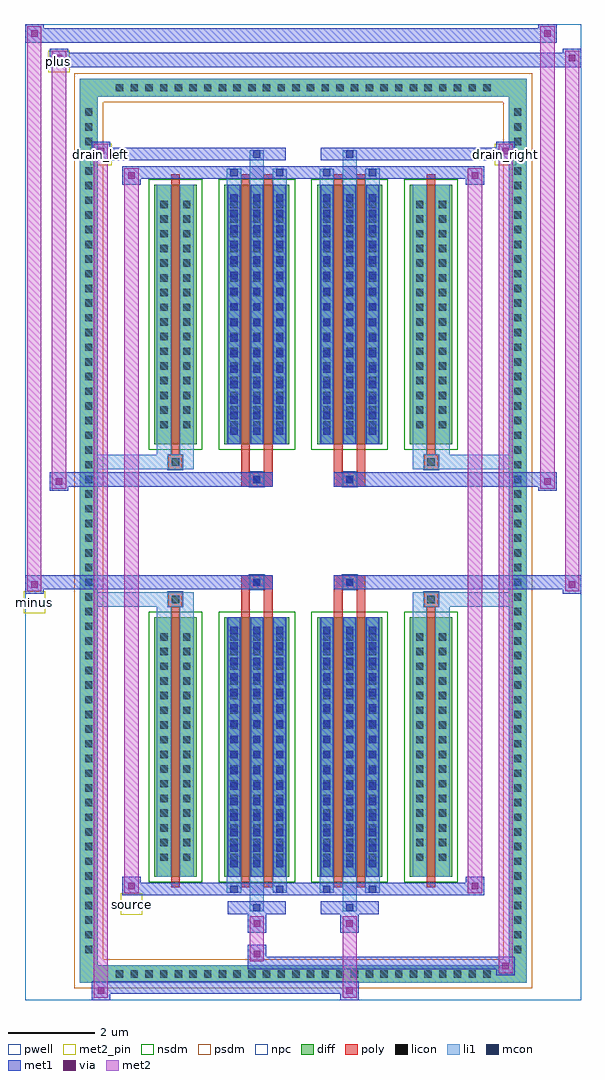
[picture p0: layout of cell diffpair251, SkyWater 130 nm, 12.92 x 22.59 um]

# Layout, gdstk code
import gdstk
lib = gdstk.Library(unit=1e-6, precision=5e-09)
def R(c, l, rs):  # rectangles x0, y0, x1, y1
    for r in rs: c.add(gdstk.rectangle(r[:2], r[2:], *l))
def A(c, l, x, y, w, h, nx, ny, dx, dy):  # array of equal rectangles
    R(c, l, [(x+i*dx, y+j*dy, x+i*dx+w, y+j*dy+h) for i in range(nx) for j in range(ny)])
def P(c, l, *ps):  # polygons
    for p in ps: c.add(gdstk.Polygon(p, *l))
pwell = (64, 44)
diff = (65, 20)
poly = (66, 20)
licon = (66, 44)
li1 = (67, 20)
mcon = (67, 44)
met1 = (68, 20)
via = (68, 44)
met2_pin = (69, 16)
met2 = (69, 20)
nsdm = (93, 44)
psdm = (94, 20)
npc = (95, 20)

diffpair251 = lib.new_cell('diffpair251')
R(diffpair251, pwell, [(-6.44,-10.86,6.44,11.73), (-3.76,-9.05,-0.01,-0.825), (0.01,-9.05,3.76,-0.825), (-3.76,0.825,-0.01,9.05), (0.01,0.825,3.76,9.05)])
A(diffpair251, diff, -4.455, -10.46, 0.41, 0.41, 26, 2, 0.34, 20.51)
A(diffpair251, diff, -5.17, -9.895, 0.41, 0.41, 1, 58, 0, 0.34)
A(diffpair251, diff, 4.76, -9.895, 0.41, 0.41, 1, 58, 0, 0.34)
R(diffpair251, diff, [(-4.455,-10.46,4.455,-10.05), (-5.17,-9.895,-4.76,9.895), (4.76,-9.895,5.17,9.895), (-3.45,-8.005,-2.47,-2.005), (-1.83,-8.005,-0.32,-2.005), (0.32,-8.005,1.83,-2.005), (2.47,-8.005,3.45,-2.005), (-3.45,2.005,-2.47,8.005), (-1.83,2.005,-0.32,8.005), (0.32,2.005,1.83,8.005), (2.47,2.005,3.45,8.005), (-4.455,10.05,4.455,10.46)])
P(diffpair251, diff, [(5.17,10.46),(-5.17,10.46),(-5.17,-10.05),(-4.76,-10.05),(-4.76,10.05),(4.76,10.05),(4.76,-10.05),(-4.76,-10.05),(-5.17,-10.05),(-5.17,-10.46),(5.17,-10.46)])
R(diffpair251, poly, [(-3.06,-8.255,-2.86,-1.755), (-1.44,-8.255,-1.24,-1.755), (-0.91,-8.255,-0.71,-1.755), (0.71,-8.255,0.91,-1.755), (1.24,-8.255,1.44,-1.755), (2.86,-8.255,3.06,-1.755), (-3.125,-1.755,-2.795,-1.425), (-3.125,-1.755,-2.795,-1.425), (-1.44,-1.755,-1.24,-1.355), (-0.91,-1.755,-0.71,-1.355), (0.71,-1.755,0.91,-1.355), (1.24,-1.755,1.44,-1.355), (2.795,-1.755,3.125,-1.425), (2.795,-1.755,3.125,-1.425), (-1.44,-1.355,-0.71,-1.025), (-1.24,-1.355,-0.91,-1.025), (0.71,-1.355,1.44,-1.025), (0.91,-1.355,1.24,-1.025), (-1.44,1.025,-0.71,1.355), (-1.24,1.025,-0.91,1.355), (0.71,1.025,1.44,1.355), (0.91,1.025,1.24,1.355), (-1.44,1.355,-1.24,1.755), (-0.91,1.355,-0.71,1.755), (0.71,1.355,0.91,1.755), (1.24,1.355,1.44,1.755), (-3.125,1.425,-2.795,1.755), (-3.125,1.425,-2.795,1.755), (2.795,1.425,3.125,1.755), (2.795,1.425,3.125,1.755), (-3.06,1.755,-2.86,8.255), (-1.44,1.755,-1.24,8.255), (-0.91,1.755,-0.71,8.255), (0.71,1.755,0.91,8.255), (1.24,1.755,1.44,8.255), (2.86,1.755,3.06,8.255)])
A(diffpair251, licon, -4.335, -10.34, 0.17, 0.17, 26, 2, 0.34, 20.51)
A(diffpair251, licon, -5.05, -9.775, 0.17, 0.17, 1, 58, 0, 0.34)
A(diffpair251, licon, 4.88, -9.775, 0.17, 0.17, 1, 58, 0, 0.34)
A(diffpair251, licon, -3.31, -7.64, 0.17, 0.17, 1, 16, 0, 0.34)
A(diffpair251, licon, -2.78, -7.64, 0.17, 0.17, 1, 16, 0, 0.34)
A(diffpair251, licon, -1.69, -7.64, 0.17, 0.17, 3, 16, 0.53, 0.34)
A(diffpair251, licon, 0.46, -7.64, 0.17, 0.17, 3, 16, 0.53, 0.34)
A(diffpair251, licon, 2.61, -7.64, 0.17, 0.17, 1, 16, 0, 0.34)
A(diffpair251, licon, 3.14, -7.64, 0.17, 0.17, 1, 16, 0, 0.34)
A(diffpair251, licon, -3.31, 2.37, 0.17, 0.17, 1, 16, 0, 0.34)
A(diffpair251, licon, -2.78, 2.37, 0.17, 0.17, 1, 16, 0, 0.34)
A(diffpair251, licon, -1.69, 2.37, 0.17, 0.17, 3, 16, 0.53, 0.34)
A(diffpair251, licon, 0.46, 2.37, 0.17, 0.17, 3, 16, 0.53, 0.34)
A(diffpair251, licon, 2.61, 2.37, 0.17, 0.17, 1, 16, 0, 0.34)
A(diffpair251, licon, 3.14, 2.37, 0.17, 0.17, 1, 16, 0, 0.34)
R(diffpair251, licon, [(-3.045,-1.675,-2.875,-1.505), (2.875,-1.675,3.045,-1.505), (-1.16,-1.275,-0.99,-1.105), (0.99,-1.275,1.16,-1.105), (-1.16,1.105,-0.99,1.275), (0.99,1.105,1.16,1.275), (-3.045,1.505,-2.875,1.675), (2.875,1.505,3.045,1.675)])
A(diffpair251, li1, -4.415, -10.42, 0.33, 0.33, 26, 2, 0.34, 20.51)
A(diffpair251, li1, -5.13, -9.855, 0.33, 0.33, 1, 58, 0, 0.34)
A(diffpair251, li1, 4.8, -9.855, 0.33, 0.33, 1, 58, 0, 0.34)
A(diffpair251, li1, -1.77, -8.005, 0.33, 6, 3, 2, 0.53, 10.01)
A(diffpair251, li1, 0.38, -8.005, 0.33, 6, 3, 2, 0.53, 10.01)
A(diffpair251, li1, -1.69, -7.79, 0.17, 0.17, 3, 16, 0.53, 0.36)
A(diffpair251, li1, -1.69, -7.79, 0.17, 5.57, 3, 2, 0.53, 10.01)
A(diffpair251, li1, 0.46, -7.79, 0.17, 0.17, 3, 16, 0.53, 0.36)
A(diffpair251, li1, 0.46, -7.79, 0.17, 5.57, 3, 2, 0.53, 10.01)
A(diffpair251, li1, -3.39, -7.72, 0.33, 0.33, 1, 16, 0, 0.34)
A(diffpair251, li1, -2.86, -7.72, 0.33, 0.33, 1, 16, 0, 0.34)
A(diffpair251, li1, -1.77, -7.72, 0.33, 0.33, 3, 16, 0.53, 0.34)
A(diffpair251, li1, 0.38, -7.72, 0.33, 0.33, 3, 16, 0.53, 0.34)
A(diffpair251, li1, 2.53, -7.72, 0.33, 0.33, 1, 16, 0, 0.34)
A(diffpair251, li1, 3.06, -7.72, 0.33, 0.33, 1, 16, 0, 0.34)
A(diffpair251, li1, -1.69, 2.22, 0.17, 0.17, 3, 16, 0.53, 0.36)
A(diffpair251, li1, 0.46, 2.22, 0.17, 0.17, 3, 16, 0.53, 0.36)
A(diffpair251, li1, -3.39, 2.29, 0.33, 0.33, 1, 16, 0, 0.34)
A(diffpair251, li1, -2.86, 2.29, 0.33, 0.33, 1, 16, 0, 0.34)
A(diffpair251, li1, -1.77, 2.29, 0.33, 0.33, 3, 16, 0.53, 0.34)
A(diffpair251, li1, 0.38, 2.29, 0.33, 0.33, 3, 16, 0.53, 0.34)
A(diffpair251, li1, 2.53, 2.29, 0.33, 0.33, 1, 16, 0, 0.34)
A(diffpair251, li1, 3.06, 2.29, 0.33, 0.33, 1, 16, 0, 0.34)
R(diffpair251, li1, [(-5.17,-10.46,-4.76,-10.05), (-5.17,-10.46,-4.76,-10.05), (-4.76,-10.46,4.76,-10.05), (4.76,-10.46,5.17,-10.05), (4.76,-10.46,5.17,-10.05), (-5.17,-10.05,-4.76,10.05), (4.76,-10.05,5.17,10.05), (-1.24,-8.81,-0.91,-8.005), (-1.16,-8.81,-0.99,-8.64), (0.91,-8.81,1.24,-8.005), (0.99,-8.81,1.16,-8.64), (-1.77,-8.38,-1.44,-8.005), (-1.69,-8.38,-1.52,-8.21), (-0.71,-8.38,-0.38,-8.005), (-0.63,-8.38,-0.46,-8.21), (0.38,-8.38,0.71,-8.005), (0.46,-8.38,0.63,-8.21), (1.44,-8.38,1.77,-8.005), (1.52,-8.38,1.69,-8.21), (-3.39,-8.005,-3.06,-2.005), (-2.86,-8.005,-2.53,-2.005), (2.53,-8.005,2.86,-2.005), (3.06,-8.005,3.39,-2.005), (-3.39,-2.005,-3.06,-1.425), (-2.86,-2.005,-2.53,-1.425), (2.53,-2.005,2.86,-1.425), (3.06,-2.005,3.39,-1.425), (-5.17,-1.755,-3.125,-1.425), (-3.39,-1.755,-3.125,-1.425), (-3.125,-1.755,-2.795,-1.425), (-2.795,-1.755,-2.53,-1.425), (2.53,-1.755,2.795,-1.425), (2.795,-1.755,3.125,-1.425), (2.795,-1.755,5.17,-1.425), (3.125,-1.755,3.39,-1.425), (-1.24,-1.355,-0.91,-1.025), (0.91,-1.355,1.24,-1.025), (-1.24,1.025,-0.91,1.355), (0.91,1.025,1.24,1.355), (-5.17,1.425,-3.125,1.755), (-3.39,1.425,-3.125,1.755), (-3.39,1.425,-3.06,2.005), (-3.125,1.425,-2.795,1.755), (-2.86,1.425,-2.53,2.005), (-2.795,1.425,-2.53,1.755), (2.53,1.425,2.795,1.755), (2.53,1.425,2.86,2.005), (2.795,1.425,3.125,1.755), (2.795,1.425,5.17,1.755), (3.06,1.425,3.39,2.005), (3.125,1.425,3.39,1.755), (-3.39,2.005,-3.06,8.005), (-2.86,2.005,-2.53,8.005), (2.53,2.005,2.86,8.005), (3.06,2.005,3.39,8.005), (-1.77,8.005,-1.44,8.38), (-1.24,8.005,-0.91,8.81), (-0.71,8.005,-0.38,8.38), (0.38,8.005,0.71,8.38), (0.91,8.005,1.24,8.81), (1.44,8.005,1.77,8.38), (-1.69,8.21,-1.52,8.38), (-0.63,8.21,-0.46,8.38), (0.46,8.21,0.63,8.38), (1.52,8.21,1.69,8.38), (-1.16,8.64,-0.99,8.81), (0.99,8.64,1.16,8.81), (-5.17,10.05,-4.76,10.46), (-5.17,10.05,-4.76,10.46), (-4.76,10.05,4.76,10.46), (4.76,10.05,5.17,10.46), (4.76,10.05,5.17,10.46)])
A(diffpair251, mcon, -1.69, -7.79, 0.17, 0.17, 3, 16, 0.53, 0.36)
A(diffpair251, mcon, 0.46, -7.79, 0.17, 0.17, 3, 16, 0.53, 0.36)
A(diffpair251, mcon, -1.69, 2.22, 0.17, 0.17, 3, 16, 0.53, 0.36)
A(diffpair251, mcon, 0.46, 2.22, 0.17, 0.17, 3, 16, 0.53, 0.36)
R(diffpair251, mcon, [(-1.16,-8.81,-0.99,-8.64), (0.99,-8.81,1.16,-8.64), (-1.69,-8.38,-1.52,-8.21), (-0.63,-8.38,-0.46,-8.21), (0.46,-8.38,0.63,-8.21), (1.52,-8.38,1.69,-8.21), (-1.16,-1.275,-0.99,-1.105), (0.99,-1.275,1.16,-1.105), (-1.16,1.105,-0.99,1.275), (0.99,1.105,1.16,1.275), (-1.69,8.21,-1.52,8.38), (-0.63,8.21,-0.46,8.38), (0.46,8.21,0.63,8.38), (1.52,8.21,1.69,8.38), (-1.16,8.64,-0.99,8.81), (0.99,8.64,1.16,8.81)])
A(diffpair251, met1, -1.75, -8.005, 0.29, 6, 3, 2, 0.53, 10.01)
A(diffpair251, met1, 0.4, -8.005, 0.29, 6, 3, 2, 0.53, 10.01)
A(diffpair251, met1, -1.75, -7.85, 0.29, 0.29, 3, 16, 0.53, 0.36)
A(diffpair251, met1, 0.4, -7.85, 0.29, 0.29, 3, 16, 0.53, 0.36)
A(diffpair251, met1, -1.75, 2.16, 0.29, 0.29, 3, 16, 0.53, 0.36)
A(diffpair251, met1, 0.4, 2.16, 0.29, 0.29, 3, 16, 0.53, 0.36)
R(diffpair251, met1, [(-4.9,-10.86,-4.47,-10.43), (0.86,-10.86,1.29,-10.43), (-4.9,-10.72,1.29,-10.43), (4.47,-10.29,4.9,-9.86), (-1.29,-10.15,4.9,-9.86), (-1.29,-10.01,-0.86,-9.58), (-1.29,-9.3,-0.86,-8.87), (0.86,-9.3,1.29,-8.87), (-1.75,-8.87,-0.4,-8.58), (-1.22,-8.87,-0.93,-8.58), (0.4,-8.87,1.75,-8.58), (0.93,-8.87,1.22,-8.58), (-4.19,-8.44,-3.76,-8.01), (-4.19,-8.44,-1.75,-8.15), (-1.75,-8.44,-1.46,-8.15), (-1.75,-8.44,-0.4,-8.15), (-0.69,-8.44,-0.4,-8.15), (-0.4,-8.44,0.4,-8.15), (0.4,-8.44,0.69,-8.15), (0.4,-8.44,1.75,-8.15), (1.46,-8.44,1.75,-8.15), (1.75,-8.44,4.19,-8.15), (3.76,-8.44,4.19,-8.01), (-6.44,-1.455,-6.01,-1.025), (6.01,-1.455,6.44,-1.025), (-6.44,-1.355,-0.71,-1.025), (-1.44,-1.355,-0.71,-1.025), (0.71,-1.355,1.44,-1.025), (0.71,-1.355,6.44,-1.025), (-1.22,-1.335,-0.93,-1.045), (0.93,-1.335,1.22,-1.045), (-5.87,0.925,-5.44,1.355), (5.44,0.925,5.87,1.355), (-5.87,1.025,-1.44,1.355), (-1.44,1.025,-0.71,1.355), (0.71,1.025,1.44,1.355), (1.44,1.025,5.87,1.355), (-1.22,1.045,-0.93,1.335), (0.93,1.045,1.22,1.335), (-4.19,8.01,-3.76,8.44), (3.76,8.01,4.19,8.44), (-4.19,8.15,-1.75,8.44), (-1.75,8.15,-1.46,8.44), (-1.75,8.15,-0.4,8.44), (-0.69,8.15,-0.4,8.44), (-0.4,8.15,0.4,8.44), (0.4,8.15,0.69,8.44), (0.4,8.15,1.75,8.44), (1.46,8.15,1.75,8.44), (1.75,8.15,4.19,8.44), (-4.9,8.58,-4.47,9.01), (-4.9,8.58,-1.75,8.87), (-1.75,8.58,-0.4,8.87), (-1.22,8.58,-0.93,8.87), (0.4,8.58,1.75,8.87), (0.93,8.58,1.22,8.87), (1.75,8.58,4.9,8.87), (4.47,8.58,4.9,9.01), (-5.87,10.73,-5.44,11.16), (-5.87,10.73,-3.76,11.06), (-3.76,10.73,3.76,11.06), (3.76,10.73,6.44,11.06), (6.01,10.73,6.44,11.16), (-6.44,11.3,-6.01,11.73), (-6.44,11.3,-3.76,11.63), (-3.76,11.3,3.76,11.63), (3.76,11.3,5.87,11.63), (5.44,11.3,5.87,11.73)])
R(diffpair251, via, [(-4.76,-10.72,-4.61,-10.57), (1,-10.72,1.15,-10.57), (4.61,-10.15,4.76,-10), (-1.15,-9.87,-1,-9.72), (-1.15,-9.16,-1,-9.01), (1,-9.16,1.15,-9.01), (-4.05,-8.3,-3.9,-8.15), (3.9,-8.3,4.05,-8.15), (-6.3,-1.315,-6.15,-1.165), (6.15,-1.315,6.3,-1.165), (-5.73,1.065,-5.58,1.215), (5.58,1.065,5.73,1.215), (-4.05,8.15,-3.9,8.3), (3.9,8.15,4.05,8.3), (-4.76,8.72,-4.61,8.87), (4.61,8.72,4.76,8.87), (-5.73,10.87,-5.58,11.02), (6.15,10.87,6.3,11.02), (-6.3,11.44,-6.15,11.59), (5.58,11.44,5.73,11.59)])
R(diffpair251, met2_pin, [(-4.225,-8.89,-3.725,-8.39), (-6.475,-1.905,-5.975,-1.405), (-4.935,8.46,-4.435,8.96), (4.435,8.46,4.935,8.96), (-5.905,10.61,-5.405,11.11)])
R(diffpair251, met2, [(-4.85,-10.81,-4.52,-10.48), (-4.85,-10.81,-4.52,8.96), (0.91,-10.81,1.24,-10.48), (0.91,-10.48,1.24,-9.25), (4.52,-10.24,4.85,-9.91), (4.52,-10.24,4.85,8.96), (-1.24,-9.96,-0.91,-9.63), (-1.24,-9.63,-0.91,-9.25), (-1.24,-9.25,-0.91,-8.92), (0.91,-9.25,1.24,-8.92), (-4.14,-8.39,-3.81,-8.06), (-4.14,-8.39,-3.81,8.39), (3.81,-8.39,4.14,-8.06), (3.81,-8.39,4.14,8.39), (-6.39,-1.405,-6.06,-1.075), (-6.39,-1.405,-6.06,11.68), (6.06,-1.405,6.39,-1.075), (6.06,-1.405,6.39,11.11), (-5.82,0.975,-5.49,1.305), (-5.82,0.975,-5.49,11.11), (5.49,0.975,5.82,1.305), (5.49,0.975,5.82,11.68), (-4.14,8.06,-3.81,8.39), (3.81,8.06,4.14,8.39), (-4.85,8.63,-4.52,8.96), (4.52,8.63,4.85,8.96), (-5.82,10.78,-5.49,11.11), (6.06,10.78,6.39,11.11), (-6.39,11.35,-6.06,11.68), (5.49,11.35,5.82,11.68)])
P(diffpair251, met2, [(6.39,-1.405),(6.39,-1.405),(6.39,-1.075),(6.39,-1.075)],
  [(6.39,10.78),(6.39,10.78),(6.39,11.11),(6.39,11.11)],
  [(-6.06,-1.405),(-6.06,-1.405),(-6.06,-1.075),(-6.06,-1.075)],
  [(-6.06,11.35),(-6.06,11.35),(-6.06,11.68),(-6.06,11.68)],
  [(5.82,0.975),(5.82,0.975),(5.82,1.305),(5.82,1.305)],
  [(5.82,11.35),(5.82,11.35),(5.82,11.68),(5.82,11.68)],
  [(-5.49,0.975),(-5.49,0.975),(-5.49,1.305),(-5.49,1.305)],
  [(-5.49,10.78),(-5.49,10.78),(-5.49,11.11),(-5.49,11.11)],
  [(-4.52,-10.81),(-4.52,-10.81),(-4.52,-10.48),(-4.52,-10.48)],
  [(-4.52,8.63),(-4.52,8.63),(-4.52,8.96),(-4.52,8.96)],
  [(4.85,-10.24),(4.85,-10.24),(4.85,-9.91),(4.85,-9.91)],
  [(4.85,8.63),(4.85,8.63),(4.85,8.96),(4.85,8.96)],
  [(-3.81,-8.39),(-3.81,-8.39),(-3.81,-8.06),(-3.81,-8.06)],
  [(-3.81,8.06),(-3.81,8.06),(-3.81,8.39),(-3.81,8.39)],
  [(4.14,-8.39),(4.14,-8.39),(4.14,-8.06),(4.14,-8.06)],
  [(4.14,8.06),(4.14,8.06),(4.14,8.39),(4.14,8.39)])
R(diffpair251, nsdm, [(-3.58,-8.135,-2.34,-1.875), (-1.96,-8.135,-0.19,-1.875), (0.19,-8.135,1.96,-1.875), (2.34,-8.135,3.58,-1.875), (-3.58,1.875,-2.34,8.135), (-1.96,1.875,-0.19,8.135), (0.19,1.875,1.96,8.135), (2.34,1.875,3.58,8.135)])
P(diffpair251, psdm, [(5.3,10.59),(-5.3,10.59),(-5.3,-9.92),(-4.63,-9.92),(-4.63,9.92),(4.63,9.92),(4.63,-9.92),(-4.63,-9.92),(-5.3,-9.92),(-5.3,-10.59),(5.3,-10.59)])
R(diffpair251, npc, [(-3.145,-1.775,-2.775,-1.405), (2.775,-1.775,3.145,-1.405), (-1.26,-1.375,-0.89,-1.005), (0.89,-1.375,1.26,-1.005), (-1.26,1.005,-0.89,1.375), (0.89,1.005,1.26,1.375), (-3.145,1.405,-2.775,1.775), (2.775,1.405,3.145,1.775)])
diffpair251.add(gdstk.Label('minus', (-6.225,-1.655), layer=69, texttype=5))
diffpair251.add(gdstk.Label('drain_right', (4.685,8.71), layer=69, texttype=5))
diffpair251.add(gdstk.Label('drain_left', (-4.685,8.71), layer=69, texttype=5))
diffpair251.add(gdstk.Label('source', (-3.975,-8.64), layer=69, texttype=5))
diffpair251.add(gdstk.Label('plus', (-5.655,10.86), layer=69, texttype=5))

lib.write_gds('diffpair251.gds')
